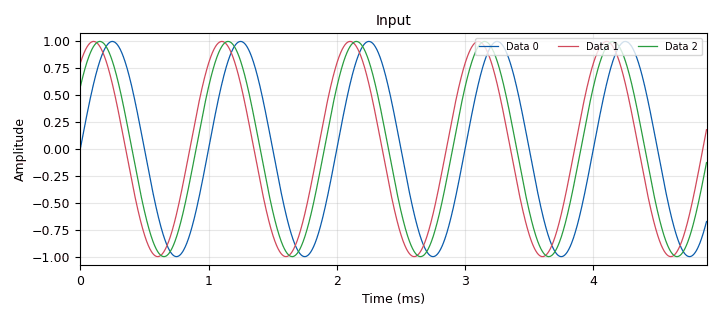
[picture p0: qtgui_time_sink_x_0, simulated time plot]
<?xml version='1.0' encoding='utf-8'?>
<?grc format='1' created='3.7.8'?>
<flow_graph>
<block>
<key>options</key>
<param><key>id</key><value>top_block</value></param>
<param><key>category</key><value>Custom</value></param>
<param><key>generate_options</key><value>qt_gui</value></param>
</block>
<block>
<key>variable</key>
<param><key>id</key><value>cal_freq</value></param>
<param><key>value</key><value>1000</value></param>
</block>
<block>
<key>variable</key>
<param><key>id</key><value>samp_rate</value></param>
<param><key>value</key><value>1024000*2</value></param>
</block>
<block>
<key>variable_qtgui_range</key>
<param><key>id</key><value>variable_qtgui_range_0</value></param>
<param><key>value</key><value>200</value></param>
<param><key>label</key><value>Delay</value></param>
<param><key>orient</key><value>Qt.Horizontal</value></param>
<param><key>start</key><value>0</value></param>
<param><key>step</key><value>10</value></param>
<param><key>stop</key><value>1000</value></param>
<param><key>rangeType</key><value>int</value></param>
</block>
<block>
<key>variable_qtgui_range</key>
<param><key>id</key><value>variable_qtgui_range_0_0</value></param>
<param><key>value</key><value>300</value></param>
<param><key>label</key><value>Delay2</value></param>
<param><key>orient</key><value>Qt.Horizontal</value></param>
<param><key>start</key><value>0</value></param>
<param><key>step</key><value>10</value></param>
<param><key>stop</key><value>10000</value></param>
<param><key>rangeType</key><value>int</value></param>
</block>
<block>
<key>variable_qtgui_range</key>
<param><key>id</key><value>variable_qtgui_range_0_0_0</value></param>
<param><key>value</key><value>500</value></param>
<param><key>label</key><value>Delay3</value></param>
<param><key>orient</key><value>Qt.Horizontal</value></param>
<param><key>start</key><value>0</value></param>
<param><key>step</key><value>10</value></param>
<param><key>stop</key><value>1000</value></param>
<param><key>rangeType</key><value>int</value></param>
</block>
<block>
<key>analog_sig_source_x</key>
<param><key>id</key><value>analog_sig_source_x_0</value></param>
<param><key>amp</key><value>1</value></param>
<param><key>freq</key><value>cal_freq</value></param>
<param><key>offset</key><value>0</value></param>
<param><key>type</key><value>complex</value></param>
<param><key>samp_rate</key><value>samp_rate</value></param>
<param><key>waveform</key><value>analog.GR_COS_WAVE</value></param>
</block>
<block>
<key>analog_sig_source_x</key>
<param><key>id</key><value>analog_sig_source_x_0_0</value></param>
<param><key>amp</key><value>1</value></param>
<param><key>freq</key><value>cal_freq+cal_freq*0.00000</value></param>
<param><key>offset</key><value>0</value></param>
<param><key>type</key><value>complex</value></param>
<param><key>samp_rate</key><value>samp_rate</value></param>
<param><key>waveform</key><value>analog.GR_COS_WAVE</value></param>
</block>
<block>
<key>blocks_complex_to_real</key>
<param><key>id</key><value>blocks_complex_to_real_0</value></param>
</block>
<block>
<key>blocks_complex_to_real</key>
<param><key>id</key><value>blocks_complex_to_real_0_0</value></param>
</block>
<block>
<key>blocks_complex_to_real</key>
<param><key>id</key><value>blocks_complex_to_real_0_0_0</value></param>
</block>
<block>
<key>blocks_delay</key>
<param><key>id</key><value>blocks_delay_0</value></param>
<param><key>delay</key><value>variable_qtgui_range_0</value></param>
<param><key>type</key><value>complex</value></param>
</block>
<block>
<key>blocks_delay</key>
<param><key>id</key><value>blocks_delay_0_0</value></param>
<param><key>delay</key><value>variable_qtgui_range_0_0</value></param>
<param><key>type</key><value>complex</value></param>
</block>
<block>
<key>blocks_delay</key>
<param><key>id</key><value>blocks_delay_0_1</value></param>
<param><key>delay</key><value>variable_qtgui_range_0_0_0</value></param>
<param><key>type</key><value>complex</value></param>
</block>
<block>
<key>blocks_int_to_float</key>
<param><key>id</key><value>blocks_int_to_float_0</value></param>
<param><key>scale</key><value>1</value></param>
</block>
<block>
<key>blocks_int_to_float</key>
<param><key>id</key><value>blocks_int_to_float_1</value></param>
<param><key>scale</key><value>1</value></param>
</block>
<block>
<key>blocks_int_to_float</key>
<param><key>id</key><value>blocks_int_to_float_2</value></param>
<param><key>scale</key><value>1</value></param>
</block>
<block>
<key>blocks_null_sink</key>
<param><key>id</key><value>blocks_null_sink_0</value></param>
<param><key>bus_conns</key><value>[[0,],]</value></param>
<param><key>type</key><value>float</value></param>
<param><key>num_inputs</key><value>3</value></param>
</block>
<block>
<key>blocks_throttle</key>
<param><key>id</key><value>blocks_throttle_0</value></param>
<param><key>samples_per_second</key><value>samp_rate</value></param>
<param><key>type</key><value>complex</value></param>
</block>
<block>
<key>blocks_throttle</key>
<param><key>id</key><value>blocks_throttle_0_0</value></param>
<param><key>samples_per_second</key><value>samp_rate</value></param>
<param><key>type</key><value>complex</value></param>
</block>
<block>
<key>measure_phases</key>
<param><key>id</key><value>measure_phases_0</value></param>
<param><key>cal_tone_freq</key><value>cal_freq</value></param>
<param><key>skip</key><value>0</value></param>
<param><key>samp_rate</key><value>samp_rate</value></param>
<param><key>input_var</key><value>0</value></param>
<param><key>updatePeriod</key><value>10</value></param>
</block>
<block>
<key>qtgui_tab_widget</key>
<param><key>id</key><value>qtgui_tab_widget_0</value></param>
<param><key>label0</key><value>Signals</value></param>
<param><key>label1</key><value>Estimates</value></param>
<param><key>num_tabs</key><value>2</value></param>
</block>
<block>
<key>qtgui_time_sink_x</key>
<param><key>id</key><value>qtgui_time_sink_x_0</value></param>
<param><key>gui_hint</key><value>qtgui_tab_widget_0@1</value></param>
<param><key>color1</key><value>"blue"</value></param>
<param><key>label1</key><value></value></param>
<param><key>color2</key><value>"red"</value></param>
<param><key>label2</key><value></value></param>
<param><key>color3</key><value>"green"</value></param>
<param><key>label3</key><value></value></param>
<param><key>name</key><value>"Input"</value></param>
<param><key>nconnections</key><value>3</value></param>
<param><key>size</key><value>10000</value></param>
<param><key>srate</key><value>samp_rate</value></param>
<param><key>tr_mode</key><value>qtgui.TRIG_MODE_AUTO</value></param>
<param><key>type</key><value>float</value></param>
</block>
<block>
<key>qtgui_time_sink_x</key>
<param><key>id</key><value>qtgui_time_sink_x_0_0</value></param>
<param><key>autoscale</key><value>True</value></param>
<param><key>comment</key><value>samp_rate/vec_size</value></param>
<param><key>ctrlpanel</key><value>True</value></param>
<param><key>gui_hint</key><value>qtgui_tab_widget_0@0</value></param>
<param><key>color1</key><value>"blue"</value></param>
<param><key>label1</key><value></value></param>
<param><key>color2</key><value>"red"</value></param>
<param><key>label2</key><value></value></param>
<param><key>color3</key><value>"green"</value></param>
<param><key>label3</key><value></value></param>
<param><key>name</key><value>"Output (Synced)"</value></param>
<param><key>nconnections</key><value>3</value></param>
<param><key>size</key><value>10000</value></param>
<param><key>srate</key><value>samp_rate</value></param>
<param><key>tr_mode</key><value>qtgui.TRIG_MODE_AUTO</value></param>
<param><key>type</key><value>float</value></param>
<param><key>ymax</key><value>2</value></param>
<param><key>ymin</key><value>-2</value></param>
</block>
<block>
<key>qtgui_time_sink_x</key>
<param><key>id</key><value>qtgui_time_sink_x_0_0_0_0</value></param>
<param><key>autoscale</key><value>True</value></param>
<param><key>comment</key><value>samp_rate/vec_size</value></param>
<param><key>color1</key><value>"blue"</value></param>
<param><key>label1</key><value></value></param>
<param><key>color2</key><value>"red"</value></param>
<param><key>label2</key><value></value></param>
<param><key>color3</key><value>"green"</value></param>
<param><key>label3</key><value></value></param>
<param><key>name</key><value>"Offsets"</value></param>
<param><key>nconnections</key><value>3</value></param>
<param><key>size</key><value>1000</value></param>
<param><key>srate</key><value>samp_rate</value></param>
<param><key>type</key><value>float</value></param>
<param><key>ymax</key><value>1000</value></param>
<param><key>ymin</key><value>-2</value></param>
</block>
<connection><source_block_id>analog_sig_source_x_0</source_block_id><sink_block_id>blocks_throttle_0</sink_block_id><source_key>0</source_key><sink_key>0</sink_key></connection>
<connection><source_block_id>analog_sig_source_x_0_0</source_block_id><sink_block_id>blocks_throttle_0_0</sink_block_id><source_key>0</source_key><sink_key>0</sink_key></connection>
<connection><source_block_id>blocks_complex_to_real_0</source_block_id><sink_block_id>qtgui_time_sink_x_0</sink_block_id><source_key>0</source_key><sink_key>0</sink_key></connection>
<connection><source_block_id>blocks_complex_to_real_0_0</source_block_id><sink_block_id>qtgui_time_sink_x_0</sink_block_id><source_key>0</source_key><sink_key>1</sink_key></connection>
<connection><source_block_id>blocks_complex_to_real_0_0_0</source_block_id><sink_block_id>qtgui_time_sink_x_0</sink_block_id><source_key>0</source_key><sink_key>2</sink_key></connection>
<connection><source_block_id>blocks_delay_0</source_block_id><sink_block_id>blocks_complex_to_real_0_0</sink_block_id><source_key>0</source_key><sink_key>0</sink_key></connection>
<connection><source_block_id>blocks_delay_0</source_block_id><sink_block_id>measure_phases_0</sink_block_id><source_key>0</source_key><sink_key>1</sink_key></connection>
<connection><source_block_id>blocks_delay_0_0</source_block_id><sink_block_id>blocks_complex_to_real_0_0_0</sink_block_id><source_key>0</source_key><sink_key>0</sink_key></connection>
<connection><source_block_id>blocks_delay_0_0</source_block_id><sink_block_id>measure_phases_0</sink_block_id><source_key>0</source_key><sink_key>2</sink_key></connection>
<connection><source_block_id>blocks_delay_0_1</source_block_id><sink_block_id>blocks_complex_to_real_0</sink_block_id><source_key>0</source_key><sink_key>0</sink_key></connection>
<connection><source_block_id>blocks_delay_0_1</source_block_id><sink_block_id>measure_phases_0</sink_block_id><source_key>0</source_key><sink_key>0</sink_key></connection>
<connection><source_block_id>blocks_int_to_float_0</source_block_id><sink_block_id>qtgui_time_sink_x_0_0_0_0</sink_block_id><source_key>0</source_key><sink_key>2</sink_key></connection>
<connection><source_block_id>blocks_int_to_float_1</source_block_id><sink_block_id>qtgui_time_sink_x_0_0_0_0</sink_block_id><source_key>0</source_key><sink_key>1</sink_key></connection>
<connection><source_block_id>blocks_int_to_float_2</source_block_id><sink_block_id>qtgui_time_sink_x_0_0_0_0</sink_block_id><source_key>0</source_key><sink_key>0</sink_key></connection>
<connection><source_block_id>blocks_throttle_0</source_block_id><sink_block_id>blocks_delay_0</sink_block_id><source_key>0</source_key><sink_key>0</sink_key></connection>
<connection><source_block_id>blocks_throttle_0</source_block_id><sink_block_id>blocks_delay_0_1</sink_block_id><source_key>0</source_key><sink_key>0</sink_key></connection>
<connection><source_block_id>blocks_throttle_0_0</source_block_id><sink_block_id>blocks_delay_0_0</sink_block_id><source_key>0</source_key><sink_key>0</sink_key></connection>
<connection><source_block_id>measure_phases_0</source_block_id><sink_block_id>blocks_int_to_float_2</sink_block_id><source_key>3</source_key><sink_key>0</sink_key></connection>
<connection><source_block_id>measure_phases_0</source_block_id><sink_block_id>blocks_null_sink_0</sink_block_id><source_key>3</source_key><sink_key>0</sink_key></connection>
<connection><source_block_id>measure_phases_0</source_block_id><sink_block_id>blocks_int_to_float_1</sink_block_id><source_key>4</source_key><sink_key>0</sink_key></connection>
<connection><source_block_id>measure_phases_0</source_block_id><sink_block_id>blocks_null_sink_0</sink_block_id><source_key>4</source_key><sink_key>1</sink_key></connection>
<connection><source_block_id>measure_phases_0</source_block_id><sink_block_id>blocks_int_to_float_0</sink_block_id><source_key>5</source_key><sink_key>0</sink_key></connection>
<connection><source_block_id>measure_phases_0</source_block_id><sink_block_id>blocks_null_sink_0</sink_block_id><source_key>5</source_key><sink_key>2</sink_key></connection>
<connection><source_block_id>measure_phases_0</source_block_id><sink_block_id>qtgui_time_sink_x_0_0</sink_block_id><source_key>0</source_key><sink_key>0</sink_key></connection>
<connection><source_block_id>measure_phases_0</source_block_id><sink_block_id>qtgui_time_sink_x_0_0</sink_block_id><source_key>1</source_key><sink_key>1</sink_key></connection>
<connection><source_block_id>measure_phases_0</source_block_id><sink_block_id>qtgui_time_sink_x_0_0</sink_block_id><source_key>2</source_key><sink_key>2</sink_key></connection>
</flow_graph>
